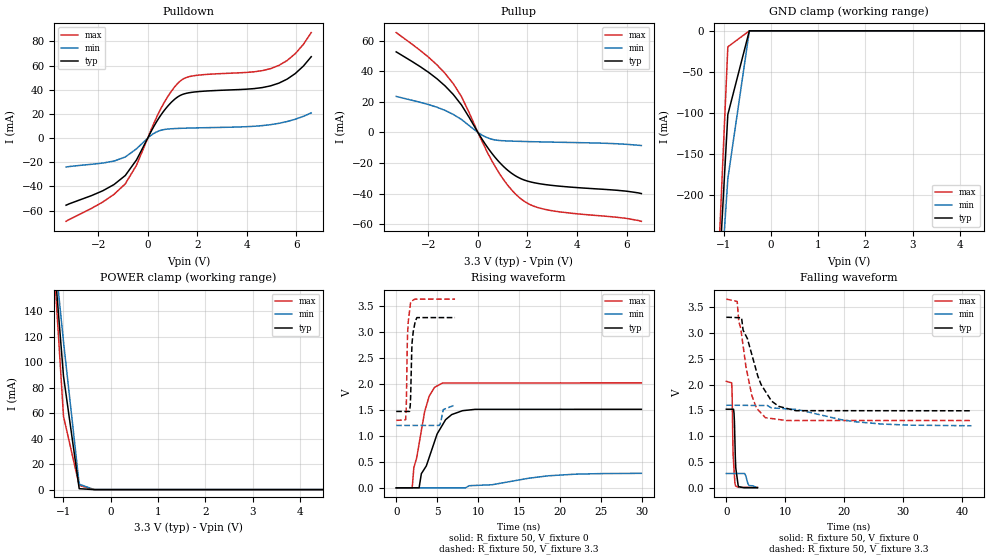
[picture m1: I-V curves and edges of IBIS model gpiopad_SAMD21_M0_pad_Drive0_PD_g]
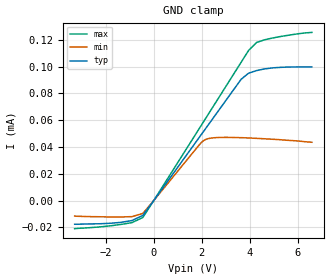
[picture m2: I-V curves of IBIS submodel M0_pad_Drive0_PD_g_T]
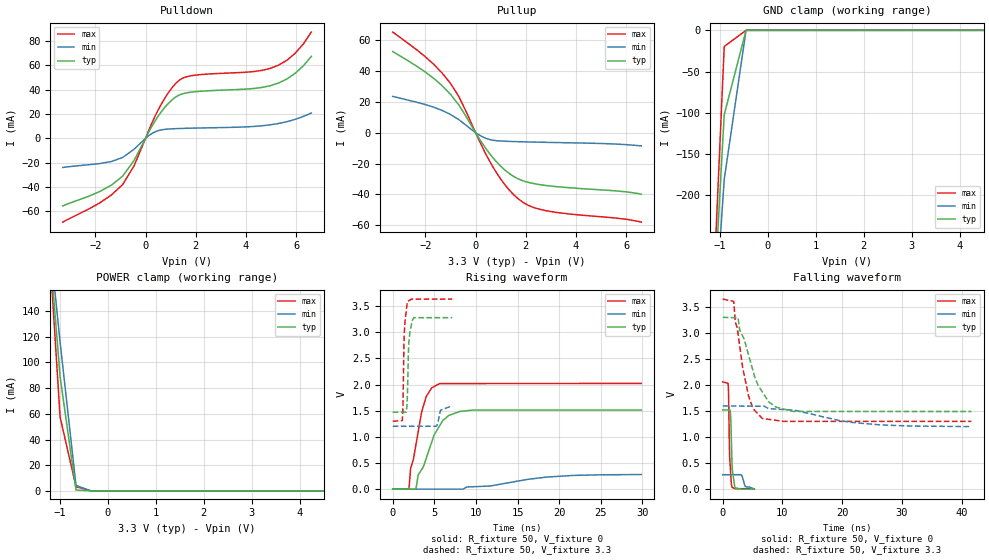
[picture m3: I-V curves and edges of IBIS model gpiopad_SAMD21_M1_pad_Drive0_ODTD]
|   - ATMEL Microcontrollers -
|   IBIS model for SAMD21_QFN64
[IBIS Ver]   4.2
[Comment char]  |_char
[File Name]   samd21_3m64.ibs
[File Rev]   1.1
[Date]   16-SEP-2015 11:09:57
[Source]   By GENIBIS V3.6 - GENerate chip IBIS model - 11-SEP-2015
[Notes]   Property of ATMEL Corporation
[Disclaimer]
                  (C) Copyright ATMEL Nantes 2002-2015
Atmel Nantes makes no warranty for the use of its products, other than
those expressly contained in the Company's standard warranty which is detailed
in Atmel's Terms and Conditions located on the Company's web site. The Company
assumes no responsability for any errors which may appear in this document.
The user is granted this license only to use the IBIS model and is not granted
rights to sell, load, rent, lease or license the IBIS model in whole or in part,
or in modified form to anyone other than user. User may modify the IBIS model
to suit its specific applications but rights to derivative works and such
modifications shall belong to Atmel Nantes.
This IBIS model is provided on an \"AS IS\" basis and Atmel Nantes makes
absolutely no warranty with respect to the information contained herein.
[Copyright]   Copyright (c) 2002-2015 by ATMEL Nantes SA
|   COMPONENT : SAMD21_QFN64
[Component]   SAMD21_QFN64
[Manufacturer]  ATMEL Nantes SAS
[Package]
| Package family : QFN
| RLC file   : V1.1
| RLCEDIT tool   : V1.3-2009/04/07
| variable   typ   min   max
R_pkg   136.78m   NA   NA
L_pkg   1.01n   NA   NA
C_pkg   40.02f   NA   NA
[Pin]   signal_name   model_name   R_pin   L_pin   C_pin
|   Real model names   <--->   IBIS model names
|   gpiopadrw100m33v3p66k25   gpiopad_SAMD21
|   gpiopadrw100m33v3p66k25   gpiopad_SAMD21
|   gpiopadrw100m33v3p66k25   gpiopad_SAMD21
|   gpiopadrw100m33v3p66k25   gpiopad_SAMD21
|   gpiopadrw100m33v3p66k25   gpiopad_SAMD21
|   gpiopadrw100m33v3p66k25   gpiopad_SAMD21
| gpiopadrtwihsmw100m33v3p66k25   gpiopadtwi_SAMD21
| gpiopadrtwihsmw100m33v3p66k25   gpiopadtwi_SAMD21
| gpiopadrtwihsmw100m33v3p66k25   gpiopadtwi_SAMD21
| gpiopadrtwihsmw100m33v3p66k25   gpiopadtwi_SAMD21
| gpiopadrtwihsmw100m33v3p66k25   gpiopadtwi_SAMD21
| gpiopadrtwihsmw100m33v3p66k25   gpiopadtwi_SAMD21
| gpiopadrtwihsmw100m33v3p66k25   gpiopadtwi_SAMD21
| gpiopadrtwihsmw100m33v3p66k25   gpiopadtwi_SAMD21
| gpiopadrtwihsmw100m33v3p66k25   gpiopadtwi_SAMD21
   1   PA00   gpiopad_SAMD21  167.07m   1.23n   40.39f
   2   PA01   gpiopad_SAMD21  149.25m   1.10n   39.41f
   3   PA02   gpiopad_SAMD21  142.46m   1.05n   39.04f
   4   PA03   gpiopad_SAMD21  130.93m  963.59p   38.40f
   5   PB04   gpiopad_SAMD21  120.44m  887.14p   37.83f
   6   PB05   gpiopad_SAMD21  119.56m  880.75p   37.78f
   7   GNDANA   GND   39.11m  294.24p   50.39f
   8   VDDANA   POWER   59.37m  441.93p   44.20f
   9   PB06   gpiopad_SAMD21  118.75m  874.85p   37.74f
   10   PB07   gpiopad_SAMD21  116.42m  857.86p   37.61f
   11   PB08   gpiopad_SAMD21  117.69m  867.13p   37.68f
   12   PB09   gpiopad_SAMD21  115.21m  849.03p   37.54f
   13   PA04   gpiopad_SAMD21  121.71m  896.42p   37.90f
   14   PA05   gpiopad_SAMD21  131.34m  966.58p   38.43f
   15   PA06   gpiopad_SAMD21  145.98m   1.07n   39.23f
   16   PA07   gpiopad_SAMD21  163.41m   1.20n   40.19f
   17   PA08   gpiopadtwi_SAMD21  185.40m   1.36n   41.39f
   18   PA09   gpiopadtwi_SAMD21  174.52m   1.28n   40.80f
   19   PA10   gpiopad_SAMD21  160.92m   1.18n   40.05f
   20   PA11   gpiopad_SAMD21  150.39m   1.11n   39.47f
   21   VDDIO   POWER  143.68m   1.06n   39.11f
   22   GND   GND  145.35m   1.07n   39.20f
   23   PB10   gpiopad_SAMD21  144.00m   1.06n   39.12f
   24   PB11   gpiopad_SAMD21  146.52m   1.08n   39.26f
   25   PB12   gpiopadtwi_SAMD21  148.77m   1.09n   39.38f
   26   PB13   gpiopadtwi_SAMD21  150.87m   1.11n   39.50f
   27   PB14   gpiopad_SAMD21  145.21m   1.07n   39.19f
   28   PB15   gpiopad_SAMD21  143.22m   1.05n   39.08f
   29   PA12   gpiopadtwi_SAMD21  148.18m   1.09n   39.35f
   30   PA13   gpiopadtwi_SAMD21  155.94m   1.15n   39.78f
   31   PA14   gpiopad_SAMD21  165.40m   1.21n   40.30f
   32   PA15   gpiopad_SAMD21  167.32m   1.23n   40.40f
   33   GND   GND  163.41m   1.20n   40.19f
   34   VDDIO   POWER  145.98m   1.07n   39.23f
   35   PA16   gpiopadtwi_SAMD21  136.13m   1.00n   38.69f
   36   PA17   gpiopadtwi_SAMD21  125.55m  924.37p   38.11f
   37   PA18   gpiopad_SAMD21  117.07m  862.57p   37.64f
   38   PA19   gpiopad_SAMD21  118.06m  869.83p   37.70f
   39   PB16   gpiopadtwi_SAMD21  116.47m  858.24p   37.61f
   40   PB17   gpiopadtwi_SAMD21  118.24m  871.12p   37.71f
   41   PA20   gpiopad_SAMD21  121.00m  891.19p   37.86f
   42   PA21   gpiopad_SAMD21  124.83m  919.18p   38.07f
   43   PA22   gpiopadtwi_SAMD21  126.13m  928.66p   38.14f
   44   PA23   gpiopadtwi_SAMD21  128.46m  945.65p   38.27f
   45   PA24   NC  141.24m   1.04n   38.97f
   46   PA25   NC  142.92m   1.05n   39.06f
   47   GND   GND  159.02m   1.17n   39.95f
   48   VDDIO   POWER  178.03m   1.31n   40.99f
   49   PB22   gpiopad_SAMD21  182.57m   1.34n   41.24f
   50   PB23   gpiopad_SAMD21  167.38m   1.23n   40.41f
   51   PA27   gpiopad_SAMD21  156.15m   1.15n   39.79f
   52   RESET_N   gpiopad_SAMD21  148.40m   1.09n   39.36f
   53   PA28   gpiopad_SAMD21  142.58m   1.05n   39.04f
   54   GND   GND   51.09m  381.55p   56.31f
   55   VDDCORE   POWER   50.05m  373.98p   55.80f
   56   VDDIO   POWER   73.66m  546.11p   47.34f
   57   PA30   gpiopad_SAMD21  143.77m   1.06n   39.11f
   58   PA31   gpiopad_SAMD21  141.61m   1.04n   38.99f
   59   PB30   gpiopadtwi_SAMD21  141.09m   1.04n   38.96f
   60   PB31   gpiopadtwi_SAMD21  141.76m   1.04n   39.00f
   61   PB00   gpiopad_SAMD21  145.52m   1.07n   39.21f
   62   PB01   gpiopad_SAMD21  146.21m   1.07n   39.24f
   63   PB02   gpiopad_SAMD21  154.99m   1.14n   39.73f
   64   PB03   gpiopad_SAMD21  170.10m   1.25n   40.56f
|   MODEL SELECTOR : gpiopadtwi_SAMD21
[Model Selector]   gpiopadtwi_SAMD21
gpiopadtwi_SAMD21_M8_TwiOnInt_gptwih   Twi On Int TwiOnInt
gpiopadtwi_SAMD21_M7_TwiOnFp_gpitwih   Twi On Fp TwiOnFp
gpiopadtwi_SAMD21_M6_TwiOn_gpioptwih   Twi On TwiOn
gpiopadtwi_SAMD21_M5_Drive1_PU_gtwih   drive 1 PU
gpiopadtwi_SAMD21_M4_Drive1_ODTdtwih   drive 1 ODT disabled
gpiopadtwi_SAMD21_M3_Drive1_NOPUtwih   drive 1 NOPU
gpiopadtwi_SAMD21_M2_Drive0_PU_gtwih   drive 0 PU
gpiopadtwi_SAMD21_M1_Drive0_ODTdtwih   drive 0 ODT disabled
gpiopadtwi_SAMD21_M0_Drive0_NOPUtwih   drive 0 NOPU
|   MODEL SELECTOR : gpiopad_SAMD21
[Model Selector]   gpiopad_SAMD21
gpiopad_SAMD21_M5_pad_Drive1_PU_g   drive 1 PU
gpiopad_SAMD21_M4_pad_Drive1_ODTD   drive 1 ODT Disabled
gpiopad_SAMD21_M3_pad_Drive1_PD_g   drive 1 PD
gpiopad_SAMD21_M2_pad_Drive0_PU_g   drive 0 PU
gpiopad_SAMD21_M1_pad_Drive0_ODTD   drive 0 ODT Disabled
gpiopad_SAMD21_M0_pad_Drive0_PD_g   drive 0 PD
| Models and submodels in the file (23): gpiopad_SAMD21_M0_pad_Drive0_PD_g (I/O), M0_pad_Drive0_PD_g_T (Dynamic_clamp), gpiopad_SAMD21_M1_pad_Drive0_ODTD (I/O), gpiopad_SAMD21_M2_pad_Drive0_PU_g (I/O), M2_pad_Drive0_PU_g_T (Dynamic_clamp), gpiopad_SAMD21_M3_pad_Drive1_PD_g (I/O), M3_pad_Drive1_PD_g_T (Dynamic_clamp), gpiopad_SAMD21_M4_pad_Drive1_ODTD (I/O), gpiopad_SAMD21_M5_pad_Drive1_PU_g (I/O), M5_pad_Drive1_PU_g_T (Dynamic_clamp), gpiopadtwi_SAMD21_M0_Drive0_NOPUtwih (I/O), M0_Drive0_NOPUtwih_T (Dynamic_clamp), gpiopadtwi_SAMD21_M1_Drive0_ODTdtwih (I/O), gpiopadtwi_SAMD21_M2_Drive0_PU_gtwih (I/O), M2_Drive0_PU_gtwih_T (Dynamic_clamp), gpiopadtwi_SAMD21_M3_Drive1_NOPUtwih (I/O), M3_Drive1_NOPUtwih_T (Dynamic_clamp), gpiopadtwi_SAMD21_M4_Drive1_ODTdtwih (I/O), gpiopadtwi_SAMD21_M5_Drive1_PU_gtwih (I/O), M5_Drive1_PU_gtwih_T (Dynamic_clamp), gpiopadtwi_SAMD21_M6_TwiOn_gpioptwih (I/O_open_sink), gpiopadtwi_SAMD21_M7_TwiOnFp_gpitwih (I/O_open_sink), gpiopadtwi_SAMD21_M8_TwiOnInt_gptwih (I/O_open_sink)
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|   MODEL : gpiopad_SAMD21_M0_pad_Drive0_PD_g
[Model] gpiopad_SAMD21_M0_pad_Drive0_PD_g
Model_type I/O
Vinl  =  0.99
Vinh  =  2.31
Vmeas =  1.650
| Capacitance   typ   min   max
C_comp   1.45231p   1.42406p   1.52865p
| Variables   typ   min   max
[GND Clamp Reference]   0   0   0
[POWER Clamp Reference]   3.3   1.6   3.65
[Pulldown Reference]   0   0   0
[Pullup Reference]   3.3   1.6   3.65
[Temperature Range]   25   105   -40
[Voltage Range]   3.3   1.6   3.65
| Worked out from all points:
|   slope of the pulldown table from 0 to 0.495 V, typ, clamps not added: 27.5 ohm
|   slope of the pullup table from 0 to 0.495 V, typ, clamps not added: 40.8 ohm
|   falling waveform, R_fixture 50, V_fixture 0: 20-80 % time 310ps typ, 447ps min, 268ps max; typ from 1.52 V to 0.005 V
|   falling waveform, R_fixture 50, V_fixture 3.3: 20-80 % time 3.37ns typ, 10.2ns min, 2.19ns max; typ from 3.3 V to 1.49 V
|   rising waveform, R_fixture 50, V_fixture 0: 20-80 % time 2.45ns typ, 6.98ns min, 1.57ns max; typ from 0 V to 1.51 V
|   rising waveform, R_fixture 50, V_fixture 3.3: 20-80 % time 243ps typ, 444ps min, 206ps max; typ from 1.47 V to 3.28 V
[GND Clamp]
| Voltage   I(typ)   I(min)   I(max)
-3.3V     -2.648A    -2.29A     -3.229A
-1.364V   -582.6mA   -574.2mA   -618.1mA
-909.1mV  -102.2mA   -180.5mA   -19.58mA
-454.5mV  -21.35uA   -51.34uA   -12.12uA
6.6V      0A         0A         0A
[POWER Clamp]
| Voltage   I(typ)   I(min)   I(max)
-3.3V     1.364A     1.145A     1.657A
-1.327V   242.2mA    237.8mA    253.7mA
-995.5mV  88.95mA    115.9mA    57.49mA
-663.6mV  729.7uA    4.271mA    3.277mA
-350mV    1.89uA     6.551uA    83.14uA
6.6V      0A         0A         0A
[Pulldown]
| Voltage   I(typ)   I(min)   I(max)
-3.3V     -55.55mA   -23.94mA   -68.88mA
-1.818V   -43.63mA   -20.7mA    -52.94mA
-909.1mV  -30.98mA   -15.68mA   -37.89mA
-454.5mV  -18.04mA   -8.89mA    -22.41mA
154.7mV   6.272mA    2.59mA     7.905mA
567.2mV   20.14mA    6.629mA    25.86mA
979.7mV   30.15mA    7.712mA    39.51mA
1.341V    35.55mA    8.051mA    47.68mA
1.959V    38.25mA    8.397mA    51.83mA
4.959V    43.17mA    11.07mA    57.42mA
5.955V    53.35mA    15.56mA    69.8mA
6.6V      67.29mA    20.81mA    87.26mA
[Pullup]
| Voltage   I(typ)   I(min)   I(max)
-3.3V     52.59mA    23.53mA    65.18mA
-1.991V   39.2mA     18.18mA    49.05mA
-1.327V   30.39mA    14.41mA    38.57mA
-995.5mV  24.79mA    11.78mA    31.87mA
-663.6mV  17.93mA    8.464mA    23.38mA
103.1mV   -2.756mA   -1.095mA   -3.561mA
670.3mV   -15.78mA   -4.81mA    -21.55mA
1.238V    -25.1mA    -5.553mA   -35.09mA
1.753V    -30.28mA   -5.829mA   -43.5mA
2.217V    -32.6mA    -6.025mA   -47.84mA
2.888V    -34.34mA   -6.261mA   -50.75mA
6.6V      -39.86mA   -8.525mA   -57.96mA
[Ramp]
dV/dt_r   0.913465/2.46764n  0.168178/6.98667n  1.23694/1.61372n
dV/dt_f   1.09661/3.43885n  0.238316/10.2022n  1.41004/2.19264n
R_load = 50
[Falling Waveform]
R_fixture = 50
V_fixture = 0
V_fixture_min = 0
V_fixture_max = 0
| Time   V(typ)   V(min)   V(max)
0s        1.522V     280.3mV    2.062V
901.1ps   1.522V     280.3mV    2.032V
986.8ps   1.522V     280.3mV    1.787V
1.12ns    1.522V     280.3mV    805mV
1.162ns   1.522V     280.3mV    621.2mV
1.372ns   1.29V      280.3mV    243.8mV
1.559ns   507.4mV    280.3mV    39.67mV
2.089ns   25.99mV    280.3mV    11.94mV
3.126ns   4.929mV    277.7mV    11.9mV
5.285ns   4.899mV    2.701mV    11.83mV
[Falling Waveform]
R_fixture = 50
V_fixture = 3.3
V_fixture_min = 1.6
V_fixture_max = 3.65
| Time   V(typ)   V(min)   V(max)
0s        3.3V       1.6V       3.65V
1.842ns   3.293V     1.598V     3.605V
2.124ns   3.292V     1.598V     3.206V
2.584ns   3.29V      1.598V     2.971V
2.851ns   3.049V     1.597V     2.747V
4.322ns   2.582V     1.596V     1.791V
6.634ns   1.868V     1.594V     1.359V
11.79ns   1.494V     1.519V     1.304V
21.69ns   1.494V     1.282V     1.304V
41.63ns   1.492V     1.203V     1.303V
[Rising Waveform]
R_fixture = 50
V_fixture = 0
V_fixture_min = 0
V_fixture_max = 0
| Time   V(typ)   V(min)   V(max)
0s        2.582nV    16.82nV    2.172nV
1.925ns   1.212mV    16.82nV    778.4uV
2.149ns   1.353mV    16.82nV    392.5mV
2.79ns    1.757mV    16.82nV    849mV
3.065ns   272.6mV    16.82nV    1.101V
4.022ns   587mV      16.82nV    1.77V
5.643ns   1.213V     16.82nV    2.02V
6.758ns   1.411V     16.82nV    2.02V
9.62ns    1.513V     46.47mV    2.02V
29.88ns   1.513V     279.7mV    2.023V
[Rising Waveform]
R_fixture = 50
V_fixture = 3.3
V_fixture_min = 1.6
V_fixture_max = 3.65
| Time   V(typ)   V(min)   V(max)
0s        1.472V     1.203V     1.3V
1.147ns   1.472V     1.203V     1.311V
1.24ns    1.472V     1.203V     1.655V
1.39ns    1.472V     1.203V     2.982V
1.758ns   1.76V      1.203V     3.584V
1.931ns   2.794V     1.203V     3.602V
2.527ns   3.281V     1.203V     3.636V
5.244ns   3.281V     1.203V     3.636V
5.754ns   3.281V     1.51V      3.636V
7.17ns    3.281V     1.596V     3.636V
[Add Submodel]
| Submodel Name Mode
M0_pad_Drive0_PD_g_T Non-Driving
| Submodel
[Submodel]  M0_pad_Drive0_PD_g_T
Submodel_type Dynamic_clamp
[GND Clamp]
| Voltage   I(typ)   I(min)   I(max)
-3.3V     -17.64uA   -11.56uA   -20.93uA
-1.364V   -16.21uA   -12.22uA   -17.76uA
-909.1mV  -14.89uA   -11.95uA   -16.44uA
-454.5mV  -11.05uA   -9.587uA   -12.61uA
2.062V    51.2uA     44.52uA    58.37uA
2.527V    62.72uA    46.91uA    71.5uA
3.65V     90.56uA    46.97uA    103.3uA
3.964V    95.13uA    46.73uA    112.2uA
4.295V    97.03uA    46.43uA    118uA
4.627V    98.26uA    46.13uA    120uA
5.291V    99.42uA    45.42uA    122.4uA
6.6V      99.78uA    43.54uA    125.5uA
|   MODEL : gpiopad_SAMD21_M1_pad_Drive0_ODTD
[Model] gpiopad_SAMD21_M1_pad_Drive0_ODTD
Model_type I/O
Vinl  =  0.99
Vinh  =  2.31
Vmeas =  1.650
| Capacitance   typ   min   max
C_comp   1.45231p   1.42406p   1.52865p
| Variables   typ   min   max
[GND Clamp Reference]   0   0   0
[POWER Clamp Reference]   3.3   1.6   3.65
[Pulldown Reference]   0   0   0
[Pullup Reference]   3.3   1.6   3.65
[Temperature Range]   25   105   -40
[Voltage Range]   3.3   1.6   3.65
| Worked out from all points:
|   slope of the pulldown table from 0 to 0.495 V, typ, clamps not added: 27.5 ohm
|   slope of the pullup table from 0 to 0.495 V, typ, clamps not added: 40.8 ohm
|   falling waveform, R_fixture 50, V_fixture 0: 20-80 % time 310ps typ, 447ps min, 268ps max; typ from 1.52 V to 0.005 V
|   falling waveform, R_fixture 50, V_fixture 3.3: 20-80 % time 3.37ns typ, 10.2ns min, 2.19ns max; typ from 3.3 V to 1.49 V
|   rising waveform, R_fixture 50, V_fixture 0: 20-80 % time 2.45ns typ, 6.98ns min, 1.57ns max; typ from 0 V to 1.51 V
|   rising waveform, R_fixture 50, V_fixture 3.3: 20-80 % time 243ps typ, 444ps min, 206ps max; typ from 1.47 V to 3.28 V
[GND Clamp]
| Voltage   I(typ)   I(min)   I(max)
-3.3V     -2.648A    -2.29A     -3.229A
-1.364V   -582.6mA   -574.2mA   -618.1mA
-909.1mV  -102.2mA   -180.5mA   -19.58mA
-454.5mV  -21.35uA   -51.34uA   -12.12uA
6.6V      0A         0A         0A
[POWER Clamp]
| Voltage   I(typ)   I(min)   I(max)
-3.3V     1.364A     1.145A     1.657A
-1.327V   242.2mA    237.8mA    253.7mA
-995.5mV  88.95mA    115.9mA    57.49mA
-663.6mV  729.7uA    4.271mA    3.277mA
-350mV    1.89uA     6.551uA    83.14uA
6.6V      0A         0A         0A
[Pulldown]
| Voltage   I(typ)   I(min)   I(max)
-3.3V     -55.55mA   -23.94mA   -68.88mA
-1.818V   -43.63mA   -20.7mA    -52.94mA
-909.1mV  -30.98mA   -15.68mA   -37.89mA
-454.5mV  -18.04mA   -8.89mA    -22.41mA
154.7mV   6.272mA    2.59mA     7.905mA
567.2mV   20.14mA    6.629mA    25.86mA
979.7mV   30.15mA    7.712mA    39.51mA
1.341V    35.55mA    8.051mA    47.68mA
1.959V    38.25mA    8.397mA    51.83mA
4.959V    43.17mA    11.07mA    57.42mA
5.955V    53.35mA    15.56mA    69.8mA
6.6V      67.29mA    20.81mA    87.26mA
[Pullup]
| Voltage   I(typ)   I(min)   I(max)
-3.3V     52.59mA    23.53mA    65.18mA
-1.991V   39.2mA     18.18mA    49.05mA
-1.327V   30.39mA    14.41mA    38.57mA
-995.5mV  24.79mA    11.78mA    31.87mA
-663.6mV  17.93mA    8.464mA    23.38mA
103.1mV   -2.756mA   -1.095mA   -3.561mA
670.3mV   -15.78mA   -4.81mA    -21.55mA
1.238V    -25.1mA    -5.553mA   -35.09mA
1.753V    -30.28mA   -5.829mA   -43.5mA
2.217V    -32.6mA    -6.025mA   -47.84mA
2.888V    -34.34mA   -6.261mA   -50.75mA
6.6V      -39.86mA   -8.525mA   -57.96mA
[Ramp]
dV/dt_r   0.913465/2.46764n  0.168178/6.98667n  1.23694/1.61372n
dV/dt_f   1.09661/3.43885n  0.238316/10.2022n  1.41004/2.19264n
R_load = 50
[Falling Waveform]
R_fixture = 50
V_fixture = 0
V_fixture_min = 0
V_fixture_max = 0
| Time   V(typ)   V(min)   V(max)
0s        1.522V     280.3mV    2.062V
901.1ps   1.522V     280.3mV    2.032V
986.8ps   1.522V     280.3mV    1.787V
1.12ns    1.522V     280.3mV    805mV
1.162ns   1.522V     280.3mV    621.2mV
1.372ns   1.29V      280.3mV    243.8mV
1.559ns   507.4mV    280.3mV    39.67mV
2.089ns   25.99mV    280.3mV    11.94mV
3.126ns   4.929mV    277.7mV    11.9mV
5.285ns   4.899mV    2.701mV    11.83mV
[Falling Waveform]
R_fixture = 50
V_fixture = 3.3
V_fixture_min = 1.6
V_fixture_max = 3.65
| Time   V(typ)   V(min)   V(max)
0s        3.3V       1.6V       3.65V
1.842ns   3.293V     1.598V     3.605V
2.124ns   3.292V     1.598V     3.206V
2.584ns   3.29V      1.598V     2.971V
2.851ns   3.049V     1.597V     2.747V
4.322ns   2.582V     1.596V     1.791V
6.634ns   1.868V     1.594V     1.359V
11.79ns   1.494V     1.519V     1.304V
21.69ns   1.494V     1.282V     1.304V
41.63ns   1.492V     1.203V     1.303V
[Rising Waveform]
R_fixture = 50
V_fixture = 0
V_fixture_min = 0
V_fixture_max = 0
| Time   V(typ)   V(min)   V(max)
0s        2.582nV    16.82nV    2.172nV
1.925ns   1.212mV    16.82nV    778.4uV
2.149ns   1.353mV    16.82nV    392.5mV
2.79ns    1.757mV    16.82nV    849mV
3.065ns   272.6mV    16.82nV    1.101V
4.022ns   587mV      16.82nV    1.77V
5.643ns   1.213V     16.82nV    2.02V
6.758ns   1.411V     16.82nV    2.02V
9.62ns    1.513V     46.47mV    2.02V
29.88ns   1.513V     279.7mV    2.023V
[Rising Waveform]
R_fixture = 50
V_fixture = 3.3
V_fixture_min = 1.6
V_fixture_max = 3.65
| Time   V(typ)   V(min)   V(max)
0s        1.472V     1.203V     1.3V
1.147ns   1.472V     1.203V     1.311V
1.24ns    1.472V     1.203V     1.655V
1.39ns    1.472V     1.203V     2.982V
1.758ns   1.76V      1.203V     3.584V
1.931ns   2.794V     1.203V     3.602V
2.527ns   3.281V     1.203V     3.636V
5.244ns   3.281V     1.203V     3.636V
5.754ns   3.281V     1.51V      3.636V
7.17ns    3.281V     1.596V     3.636V
